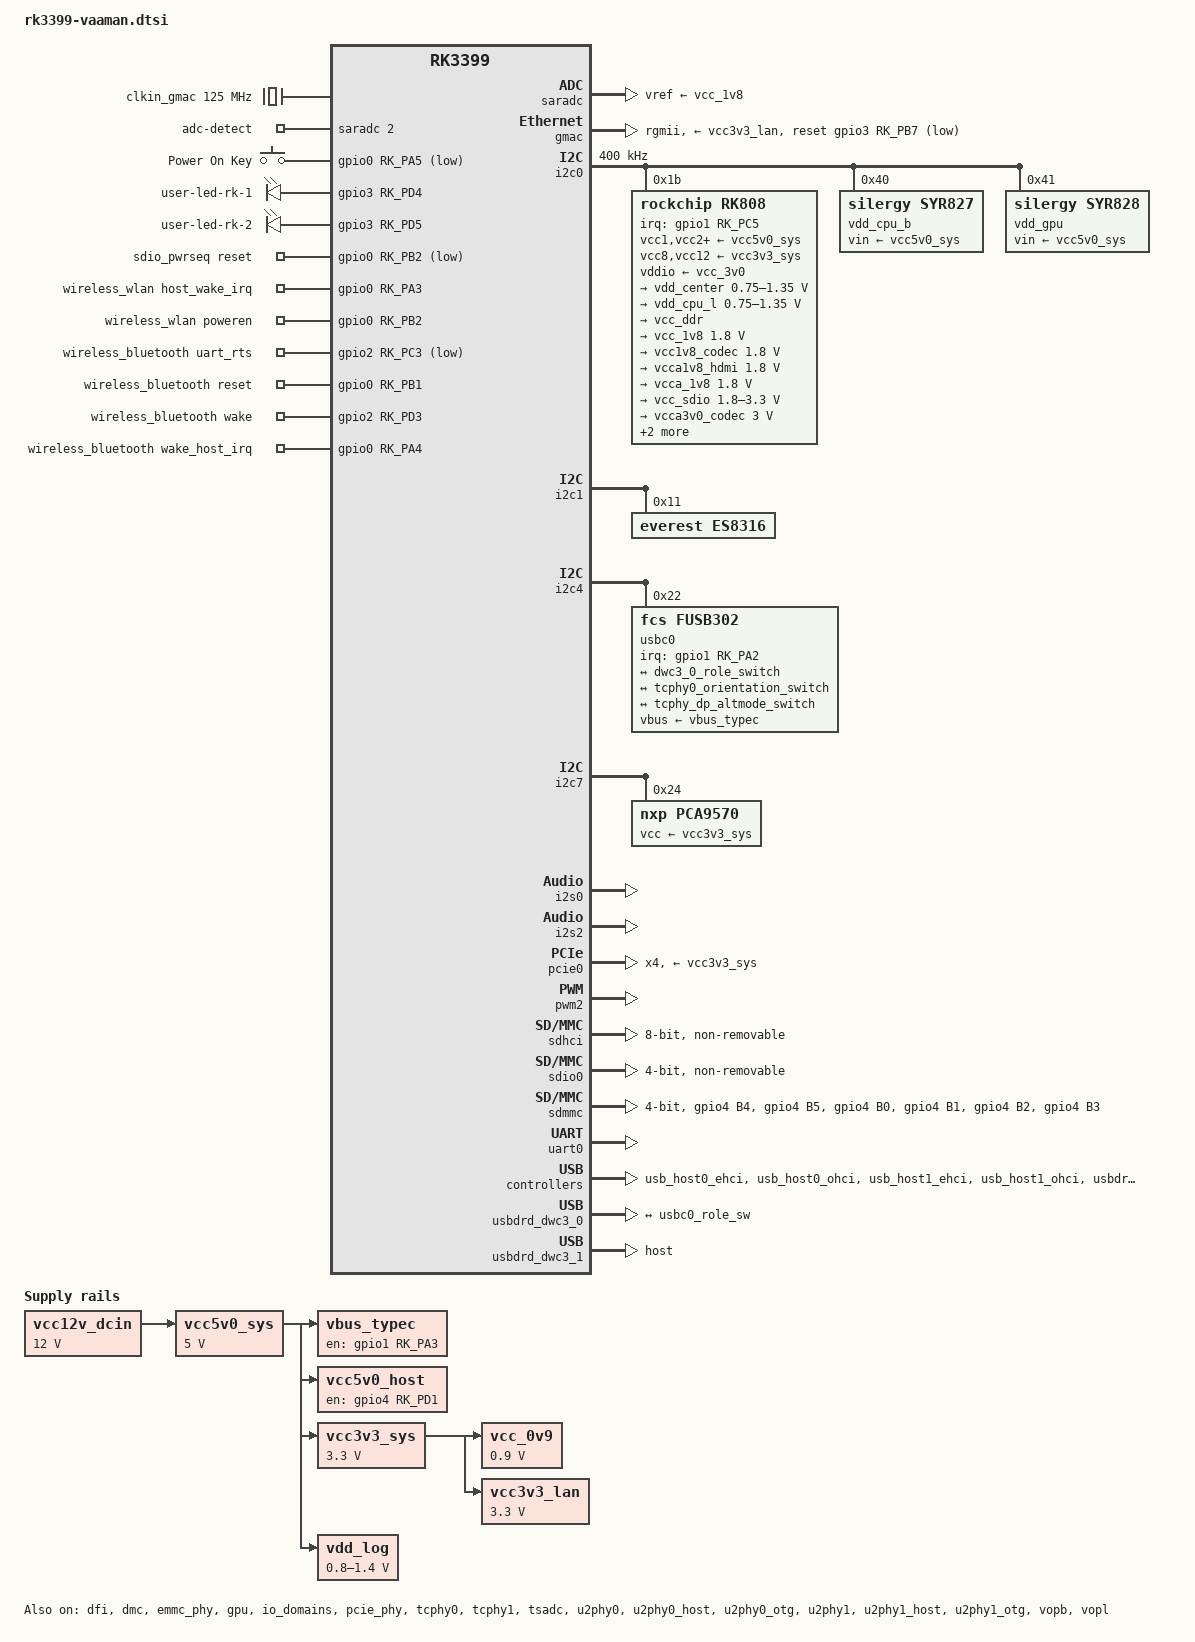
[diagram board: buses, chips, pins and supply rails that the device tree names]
// SPDX-License-Identifier: (GPL-2.0+ OR MIT)
/*
 * Copyright (C) 2023 Vicharak Computers LLP
 */

#include <dt-bindings/input/linux-event-codes.h>
#include <dt-bindings/leds/common.h>
#include <dt-bindings/usb/pd.h>
#include "rk3399.dtsi"
#include "rk3399-opp.dtsi"

/ {
	compatible = "vicharak,rk3399-vaaman", "rockchip,rk3399";

	aliases {
		mmc0 = &sdmmc;
		mmc1 = &sdhci;
		mmc2 = &sdio0;
	};

	clkin_gmac: external-gmac-clock {
		compatible = "fixed-clock";
		clock-frequency = <125000000>;
		clock-output-names = "clkin_gmac";
		#clock-cells = <0>;
	};

	dw_hdmi_audio: dw-hdmi-audio {
		status = "disabled";
		compatible = "rockchip,dw-hdmi-audio";
		#sound-dai-cells = <0>;
	};

	es8316-sound {
		compatible = "rockchip,multicodecs-card";
		rockchip,card-name = "rockchip-es8316";
		rockchip,codec = <&es8316>;
		rockchip,cpu = <&i2s0>;
		rockchip,format = "i2s";
		rockchip,mclk-fs = <256>;
		io-channel-names = "adc-detect";
		io-channels = <&saradc 2>;
		keyup-threshold-microvolt = <1800000>;
		poll-interval = <100>;
		rockchip,audio-routing =
			"Headphone", "HPOL",
			"Headphone", "HPOR",
			"Speaker", "HPOL",
			"Speaker", "HPOR",
			"MIC1", "Main Mic",
			"MIC2", "Headset Mic";
		play-pause-key {
			label = "playpause";
			linux,code = <164>;
			press-threshold-microvolt = <2000>;
		};
	};

	hdmi_sound: hdmi-sound {
		status = "disabled";
		compatible = "simple-audio-card";
		simple-audio-card,format = "i2s";
		simple-audio-card,mclk-fs = <256>;
		simple-audio-card,name = "rockchip,hdmi";
		simple-audio-card,cpu {
			sound-dai = <&i2s2>;
		};
		simple-audio-card,codec {
			sound-dai = <&dw_hdmi_audio>;
		};
	};

	keys {
		compatible = "gpio-keys";
		autorepeat;
		pinctrl-0 = <&pwr_key_l>;
		pinctrl-names = "default";

		key-power {
			gpios = <&gpio0 RK_PA5 GPIO_ACTIVE_LOW>;
			linux,code = <KEY_POWER>;
			label = "Power On Key";
			debounce-interval = <100>;
			wakeup-source;
		};
	};

	leds {
		compatible = "gpio-leds";
		pinctrl-names = "default";
		pinctrl-0 = <&user_led_rk_1_gpio &user_led_rk_2_gpio>;

		user-led-rk-1 {
			function = LED_FUNCTION_POWER;
			gpios = <&gpio3 RK_PD4 GPIO_ACTIVE_HIGH>;
			default-state = "on";
			retain-state-suspended;
			linux,default-trigger = "default-on";
		};

		user-led-rk-2 {
			function = LED_FUNCTION_STATUS;
			gpios = <&gpio3 RK_PD5 GPIO_ACTIVE_HIGH>;
			default-state = "on";
			retain-state-suspended;
			linux,default-trigger = "heartbeat";
		};
	};

	sdio_pwrseq: sdio-pwrseq {
		compatible = "mmc-pwrseq-simple";
		clocks = <&rk808 1>;
		clock-names = "ext_clock";
		pinctrl-names = "default";
		pinctrl-0 = <&wifi_reg_on_h>;
		reset-gpios = <&gpio0 RK_PB2 GPIO_ACTIVE_LOW>;
		status = "okay";
	};

	vbus_typec: vbus-typec-regulator {
		compatible = "regulator-fixed";
		regulator-name = "vbus_typec";
		enable-active-high;
		gpio = <&gpio1 RK_PA3 GPIO_ACTIVE_HIGH>;
		pinctrl-names = "default";
		pinctrl-0 = <&vcc5v0_typec0_en>;
		vin-supply = <&vcc5v0_sys>;
	};

	vcc_0v9: vcc-0v9-regulator {
		compatible = "regulator-fixed";
		regulator-name = "vcc_0v9";
		regulator-always-on;
		regulator-boot-on;
		regulator-min-microvolt = <900000>;
		regulator-max-microvolt = <900000>;
		vin-supply = <&vcc3v3_sys>;
	};

	vcc12v_dcin: vcc12v-dcin-regulator {
		compatible = "regulator-fixed";
		regulator-name = "vcc12v_dcin";
		regulator-always-on;
		regulator-boot-on;
		regulator-min-microvolt = <12000000>;
		regulator-max-microvolt = <12000000>;
	};

	vcc5v0_host: vcc5v0-host-regulator {
		compatible = "regulator-fixed";
		regulator-name = "vcc5v0_host";
		regulator-boot-on;
		regulator-always-on;
		enable-active-high;
		gpio = <&gpio4 RK_PD1 GPIO_ACTIVE_HIGH>;
		pinctrl-names = "default";
		pinctrl-0 = <&vcc5v0_host_en>;
		vin-supply = <&vcc5v0_sys>;
	};

	vcc5v0_sys: vcc5v0-sys-regulator {
		compatible = "regulator-fixed";
		regulator-name = "vcc5v0_sys";
		regulator-always-on;
		regulator-boot-on;
		regulator-min-microvolt = <5000000>;
		regulator-max-microvolt = <5000000>;
		vin-supply = <&vcc12v_dcin>;
	};

	vcc3v3_lan: vcc3v3-lan-regulator {
		compatible = "regulator-fixed";
		regulator-name = "vcc3v3_lan";
		regulator-always-on;
		regulator-boot-on;
		regulator-min-microvolt = <3300000>;
		regulator-max-microvolt = <3300000>;
		vin-supply = <&vcc3v3_sys>;

		regulator-state-mem {
			regulator-off-in-suspend;
		};
	};

	vcc3v3_sys: vcc3v3-sys-regulator {
		compatible = "regulator-fixed";
		regulator-name = "vcc3v3_sys";
		regulator-always-on;
		regulator-boot-on;
		regulator-min-microvolt = <3300000>;
		regulator-max-microvolt = <3300000>;
		vin-supply = <&vcc5v0_sys>;
	};

	vdd_log: vdd-log-regulator {
		compatible = "pwm-regulator";
		pwms = <&pwm2 0 25000 1>;
		pwm-supply = <&vcc5v0_sys>;
		regulator-name = "vdd_log";
		regulator-min-microvolt = <800000>;
		regulator-max-microvolt = <1400000>;
		regulator-always-on;
		regulator-boot-on;
		vin-supply = <&vcc5v0_sys>;
	};

	wireless_wlan: wireless-wlan {
		compatible = "wlan-platdata";
		wifi_chip_type = "rtl8822cs";
		rockchip,grf = <&grf>;
		pinctrl-names = "default";
		pinctrl-0 = <&wifi_host_wake_l>;
		WIFI,host_wake_irq = <&gpio0 RK_PA3 GPIO_ACTIVE_HIGH>;
		WIFI,poweren_gpio = <&gpio0 RK_PB2 GPIO_ACTIVE_HIGH>;
		status = "okay";
	};

	wireless_bluetooth: wireless-bluetooth {
		compatible = "bluetooth-platdata";
		clock-names = "ext_clock";
		clocks = <&rk808 1>;
		pinctrl-names = "default", "rts_gpio";
		pinctrl-0 = <&uart0_rts>, <&bt_wake_gpio>,
					<&bt_reg_on_gpio>, <&bt_host_wake_gpio>;
		pinctrl-1 = <&uart0_gpios>;
		uart_rts_gpios = <&gpio2 RK_PC3 GPIO_ACTIVE_LOW>;
		BT,reset_gpio    = <&gpio0 RK_PB1 GPIO_ACTIVE_HIGH>;
		BT,wake_gpio     = <&gpio2 RK_PD3 GPIO_ACTIVE_HIGH>;
		BT,wake_host_irq = <&gpio0 RK_PA4 GPIO_ACTIVE_HIGH>;
		status = "okay";
	};
};

&saradc {
	vref-supply = <&vcc_1v8>;
	status = "okay";
};

&cpu_b0 {
	cpu-supply = <&vdd_cpu_b>;
};

&cpu_b1 {
	cpu-supply = <&vdd_cpu_b>;
};

&cpu_l0 {
	cpu-supply = <&vdd_cpu_l>;
};

&cpu_l1 {
	cpu-supply = <&vdd_cpu_l>;
};

&cpu_l2 {
	cpu-supply = <&vdd_cpu_l>;
};

&cpu_l3 {
	cpu-supply = <&vdd_cpu_l>;
};

&dfi {
	status = "okay";
};

&dmc {
	status = "okay";
	center-supply = <&vdd_log>;
	upthreshold = <40>;
	downdifferential = <20>;
	system-status-freq = <
		/*system status         freq(KHz)*/
		SYS_STATUS_NORMAL       856000
		SYS_STATUS_REBOOT       416000
		SYS_STATUS_SUSPEND      416000
		SYS_STATUS_VIDEO_1080P  856000
		SYS_STATUS_VIDEO_4K     856000
		SYS_STATUS_VIDEO_4K_10B 856000
		SYS_STATUS_PERFORMANCE  856000
		SYS_STATUS_BOOST        856000
		SYS_STATUS_DUALVIEW     856000
		SYS_STATUS_ISP          856000
	>;

	vop-bw-dmc-freq = <
	/* min_bw(MB/s) max_bw(MB/s) freq(KHz) */
		0       577      416000
		578     99999    856000
	>;

	vop-pn-msch-readlatency = <
	/* plane_number  readlatency */
		0       0x20
		4       0x20
	>;

	auto-min-freq = <416000>;
	auto-freq-en = <0>;
};

&dmc_opp_table {
	compatible = "operating-points-v2";

	opp-200000000 {
		opp-hz = /bits/ 64 <200000000>;
		opp-microvolt = <900000>;
		status = "disabled";
	};
	opp-300000000 {
		opp-hz = /bits/ 64 <300000000>;
		opp-microvolt = <900000>;
		status = "disabled";
	};
	opp-400000000 {
		opp-hz = /bits/ 64 <400000000>;
		opp-microvolt = <900000>;
		status = "disabled";
	};
	opp-416000000 {
		opp-hz = /bits/ 64 <416000000>;
		opp-microvolt = <1000000>;
	};
	opp-528000000 {
		opp-hz = /bits/ 64 <528000000>;
		opp-microvolt = <900000>;
		status = "disabled";
	};
	opp-600000000 {
		opp-hz = /bits/ 64 <600000000>;
		opp-microvolt = <900000>;
		status = "disabled";
	};
	opp-800000000 {
		opp-hz = /bits/ 64 <800000000>;
		opp-microvolt = <900000>;
		status = "disabled";
	};
	opp-856000000 {
		opp-hz = /bits/ 64 <856000000>;
		opp-microvolt = <1000000>;
	};
};

&emmc_phy {
	status = "okay";
};

&gmac {
	assigned-clocks = <&cru SCLK_RMII_SRC>;
	assigned-clock-parents = <&clkin_gmac>;
	clock_in_out = "input";
	phy-supply = <&vcc3v3_lan>;
	phy-mode = "rgmii";
	pinctrl-names = "default", "sleep";
	pinctrl-0 = <&rgmii_pins>;
	pinctrl-1 = <&rgmii_sleep_pins>;
	snps,reset-gpio = <&gpio3 RK_PB7 GPIO_ACTIVE_LOW>;
	snps,reset-active-low;
	snps,reset-delays-us = <0 10000 50000>;
	tx_delay = <0x28>;
	rx_delay = <0x11>;
	status = "okay";
};

&gpu {
	mali-supply = <&vdd_gpu>;
	status = "okay";
};

&hdmi {
	pinctrl-names = "default";
	pinctrl-0 = <&hdmi_i2c_xfer>, <&hdmi_cec>;
	#address-cells = <1>;
	#size-cells = <0>;
	#sound-dai-cells = <0>;
	status = "disabled";
};

&i2c0 {
	clock-frequency = <400000>;
	i2c-scl-rising-time-ns = <168>;
	i2c-scl-falling-time-ns = <4>;
	status = "okay";

	rk808: pmic@1b {
		compatible = "rockchip,rk808";
		reg = <0x1b>;
		#clock-cells = <1>;
		clock-output-names = "xin32k", "rk808-clkout2";
		interrupt-parent = <&gpio1>;
		interrupts = <RK_PC5 IRQ_TYPE_LEVEL_LOW>;
		pinctrl-names = "default";
		pinctrl-0 = <&pmic_int_l>;
		rockchip,system-power-controller;
		wakeup-source;

		vcc1-supply = <&vcc5v0_sys>;
		vcc2-supply = <&vcc5v0_sys>;
		vcc3-supply = <&vcc5v0_sys>;
		vcc4-supply = <&vcc5v0_sys>;
		vcc6-supply = <&vcc5v0_sys>;
		vcc7-supply = <&vcc5v0_sys>;
		vcc8-supply = <&vcc3v3_sys>;
		vcc9-supply = <&vcc5v0_sys>;
		vcc10-supply = <&vcc5v0_sys>;
		vcc11-supply = <&vcc5v0_sys>;
		vcc12-supply = <&vcc3v3_sys>;
		vddio-supply = <&vcc_3v0>;

		regulators {
			vdd_center: DCDC_REG1 {
				regulator-name = "vdd_center";
				regulator-always-on;
				regulator-boot-on;
				regulator-min-microvolt = <750000>;
				regulator-max-microvolt = <1350000>;
				regulator-ramp-delay = <6001>;

				regulator-state-mem {
					regulator-off-in-suspend;
				};
			};

			vdd_cpu_l: DCDC_REG2 {
				regulator-name = "vdd_cpu_l";
				regulator-always-on;
				regulator-boot-on;
				regulator-min-microvolt = <750000>;
				regulator-max-microvolt = <1350000>;
				regulator-ramp-delay = <6001>;

				regulator-state-mem {
					regulator-off-in-suspend;
				};
			};

			vcc_ddr: DCDC_REG3 {
				regulator-name = "vcc_ddr";
				regulator-always-on;
				regulator-boot-on;

				regulator-state-mem {
					regulator-on-in-suspend;
				};
			};

			vcc_1v8: DCDC_REG4 {
				regulator-name = "vcc_1v8";
				regulator-always-on;
				regulator-boot-on;
				regulator-min-microvolt = <1800000>;
				regulator-max-microvolt = <1800000>;

				regulator-state-mem {
					regulator-on-in-suspend;
					regulator-suspend-microvolt = <1800000>;
				};
			};

			vcc1v8_codec: LDO_REG1 {
				regulator-name = "vcc1v8_codec";
				regulator-always-on;
				regulator-boot-on;
				regulator-min-microvolt = <1800000>;
				regulator-max-microvolt = <1800000>;

				regulator-state-mem {
					regulator-on-in-suspend;
					regulator-suspend-microvolt = <1800000>;
				};
			};

			vcca1v8_hdmi: LDO_REG2 {
				regulator-name = "vcca1v8_hdmi";
				regulator-always-on;
				regulator-boot-on;
				regulator-min-microvolt = <1800000>;
				regulator-max-microvolt = <1800000>;

				regulator-state-mem {
					regulator-on-in-suspend;
					regulator-suspend-microvolt = <1800000>;
				};
			};

			vcca_1v8: LDO_REG3 {
				regulator-name = "vcca_1v8";
				regulator-always-on;
				regulator-boot-on;
				regulator-min-microvolt = <1800000>;
				regulator-max-microvolt = <1800000>;

				regulator-state-mem {
					regulator-on-in-suspend;
					regulator-suspend-microvolt = <1800000>;
				};
			};

			vcc_sdio: LDO_REG4 {
				regulator-name = "vcc_sdio";
				regulator-always-on;
				regulator-boot-on;
				regulator-min-microvolt = <1800000>;
				regulator-max-microvolt = <3300000>;

				regulator-state-mem {
					regulator-on-in-suspend;
					regulator-suspend-microvolt = <3300000>;
				};
			};

			vcca3v0_codec: LDO_REG5 {
				regulator-name = "vcca3v0_codec";
				regulator-always-on;
				regulator-boot-on;
				regulator-min-microvolt = <3000000>;
				regulator-max-microvolt = <3000000>;

				regulator-state-mem {
					regulator-on-in-suspend;
					regulator-suspend-microvolt = <3000000>;
				};
			};

			vcc_1v5: LDO_REG6 {
				regulator-name = "vcc_1v5";
				regulator-always-on;
				regulator-boot-on;
				regulator-min-microvolt = <1500000>;
				regulator-max-microvolt = <1500000>;

				regulator-state-mem {
					regulator-on-in-suspend;
					regulator-suspend-microvolt = <1500000>;
				};
			};

			vcca0v9_hdmi: LDO_REG7 {
				regulator-name = "vcca0v9_hdmi";
				regulator-always-on;
				regulator-boot-on;
				regulator-min-microvolt = <900000>;
				regulator-max-microvolt = <900000>;

				regulator-state-mem {
					regulator-on-in-suspend;
					regulator-suspend-microvolt = <900000>;
				};
			};

			vcc_3v0: LDO_REG8 {
				regulator-name = "vcc_3v0";
				regulator-always-on;
				regulator-boot-on;
				regulator-min-microvolt = <3000000>;
				regulator-max-microvolt = <3000000>;

				regulator-state-mem {
					regulator-on-in-suspend;
					regulator-suspend-microvolt = <3000000>;
				};
			};

			vcc_cam: SWITCH_REG1 {
				regulator-name = "vcc_cam";
				regulator-always-on;
				regulator-boot-on;

				regulator-state-mem {
					regulator-on-in-suspend;
				};
			};

			vcc_mipi: SWITCH_REG2 {
				regulator-name = "vcc_mipi";
				regulator-always-on;
				regulator-boot-on;

				regulator-state-mem {
					regulator-on-in-suspend;
				};
			};
		};
	};

	vdd_cpu_b: regulator@40 {
		compatible = "silergy,syr827";
		reg = <0x40>;
		fcs,suspend-voltage-selector = <1>;
		pinctrl-names = "default";
		pinctrl-0 = <&vsel1_pin>;
		regulator-name = "vdd_cpu_b";
		regulator-min-microvolt = <712500>;
		regulator-max-microvolt = <1500000>;
		regulator-ramp-delay = <1000>;
		regulator-always-on;
		regulator-boot-on;
		vin-supply = <&vcc5v0_sys>;

		regulator-state-mem {
			regulator-off-in-suspend;
		};
	};

	vdd_gpu: regulator@41 {
		compatible = "silergy,syr828";
		reg = <0x41>;
		fcs,suspend-voltage-selector = <1>;
		pinctrl-names = "default";
		pinctrl-0 = <&vsel2_pin>;
		regulator-name = "vdd_gpu";
		regulator-min-microvolt = <712500>;
		regulator-max-microvolt = <1500000>;
		regulator-ramp-delay = <1000>;
		regulator-always-on;
		regulator-boot-on;
		vin-supply = <&vcc5v0_sys>;

		regulator-state-mem {
			regulator-off-in-suspend;
		};
	};
};

&i2c1 {
	i2c-scl-rising-time-ns = <300>;
	i2c-scl-falling-time-ns = <15>;
	status = "okay";

	es8316: es8316@11 {
		compatible = "everest,es8316";
		reg = <0x11>;
		clocks = <&cru SCLK_I2S_8CH_OUT>;
		clock-names = "mclk";
		pinctrl-names = "default";
		pinctrl-0 = <&i2s_8ch_mclk>;
		#sound-dai-cells = <0>;
	};
};

&i2c4 {
	i2c-scl-rising-time-ns = <160>;
	i2c-scl-falling-time-ns = <30>;
	status = "okay";

	usbc0: fusb302@22 {
		compatible = "fcs,fusb302";
		reg = <0x22>;
		interrupt-parent = <&gpio1>;
		interrupts = <RK_PA2 IRQ_TYPE_LEVEL_LOW>;
		pinctrl-names = "default";
		pinctrl-0 = <&chg_cc_int_l>;
		vbus-supply = <&vbus_typec>;
		status = "okay";

		ports {
			#address-cells = <1>;
			#size-cells = <0>;

			port@0 {
				reg = <0>;
				usbc0_role_sw: endpoint@0 {
					remote-endpoint = <&dwc3_0_role_switch>;
				};
			};
		};

		usb_con: connector {
			compatible = "usb-c-connector";
			label = "USB-C";
			data-role = "dual";
			power-role = "dual";
			try-power-role = "sink";
			op-sink-microwatt = <1000000>;
			sink-pdos =
				<PDO_FIXED(5000, 1000, PDO_FIXED_USB_COMM)>;
			source-pdos =
				<PDO_FIXED(5000, 3000, PDO_FIXED_USB_COMM)>;

			displayport = <&cdn_dp>;

			altmodes {
				#address-cells = <1>;
				#size-cells = <0>;

				altmode@0 {
					reg = <0>;
					svid = <0xff01>;
					vdo = <0xffffffff>;
				};
			};

			ports {
				#address-cells = <1>;
				#size-cells = <0>;

				port@0 {
					reg = <0>;

					usbc0_orien_sw: endpoint {
						remote-endpoint = <&tcphy0_orientation_switch>;
					};
				};

				port@1 {
					reg = <1>;

					dp_mode_sw: endpoint {
						remote-endpoint = <&tcphy_dp_altmode_switch>;
					};
				};
			};
		};
	};
};

&i2c7 {
	status = "okay";

	pca9570: gpio@24 {
		status = "okay";
		vcc-supply = <&vcc3v3_sys>;
		compatible = "nxp,pca9570";
		reg = <0x24>;
		gpio-controller;
		#gpio-cells = <2>;
	};
};

&i2s0 {
	status = "okay";
	rockchip,playback-channels = <2>;
	rockchip,capture-channels = <2>;
	#sound-dai-cells = <0>;
	pinctrl-names = "default";
	pinctrl-0 = <&i2s0_2ch_bus>;
};

&i2s2 {
	#sound-dai-cells = <0>;
	status = "okay";
};

&io_domains {
	audio-supply = <&vcc_3v0>;
	bt656-supply = <&vcc_3v0>;
	gpio1830-supply = <&vcc_3v0>;
	sdmmc-supply = <&vcc_sdio>;
	status = "okay";
};

&pcie0 {
	ep-gpios = <&gpio4 RK_PD3 GPIO_ACTIVE_HIGH>;
	num-lanes = <4>;
	pinctrl-0 = <&pcie_clkreqnb_cpm>;
	pinctrl-names = "default";
	vpcie0v9-supply = <&vcc_0v9>;
	vpcie1v8-supply = <&vcc_1v8>;
	vpcie3v3-supply = <&vcc3v3_sys>;
	status = "okay";
};

&pcie_phy {
	status = "okay";
};

&pinctrl {
	gmac {
		rgmii_sleep_pins: rgmii-sleep-pins {
			rockchip,pins =
				<3 RK_PB7 RK_FUNC_GPIO &pcfg_output_low>;
		};
	};

	keys {
		pwr_key_l: pwr-key-l {
			rockchip,pins =
				<0 RK_PA5 RK_FUNC_GPIO &pcfg_pull_up>;
		};
	};

	leds {
		user_led_rk_1_gpio: user-led-rk-1-gpio {
			rockchip,pins =
				<3 RK_PD4 RK_FUNC_GPIO &pcfg_pull_none>;
		};

		user_led_rk_2_gpio: user-led-rk-2-gpio {
			rockchip,pins =
				<3 RK_PD5 RK_FUNC_GPIO &pcfg_pull_none>;
		};
	};

	pmic {
		pmic_int_l: pmic-int-l {
			rockchip,pins =
				<1 RK_PC5 RK_FUNC_GPIO &pcfg_pull_up>;
		};

		vsel1_pin: vsel1-pin {
			rockchip,pins =
				<1 RK_PC1 RK_FUNC_GPIO &pcfg_pull_down>;
		};

		vsel2_pin: vsel2-pin {
			rockchip,pins =
				<1 RK_PB6 RK_FUNC_GPIO &pcfg_pull_down>;
		};
	};

	sdmmc {
		sdmmc_bus4: sdmmc-bus4 {
			rockchip,pins =
				<4 RK_PB0 1 &pcfg_pull_up_18ma>,
				<4 RK_PB1 1 &pcfg_pull_up_18ma>,
				<4 RK_PB2 1 &pcfg_pull_up_18ma>,
				<4 RK_PB3 1 &pcfg_pull_up_18ma>;
		};

		sdmmc_clk: sdmmc-clk {
			rockchip,pins =
				<4 RK_PB4 1 &pcfg_pull_up_18ma>;
		};

		sdmmc_cmd: sdmmc-cmd {
			rockchip,pins =
				<4 RK_PB5 1 &pcfg_pull_up_18ma>;
		};
	};

	usb2 {
		vcc5v0_host_en: vcc5v0-host-en {
			rockchip,pins =
				<4 RK_PD1 RK_FUNC_GPIO &pcfg_pull_none>;
		};
	};

	usb-typec {
		chg_cc_int_l: chg-cc-int-l {
			rockchip,pins =
				<1 RK_PA2 RK_FUNC_GPIO &pcfg_pull_up>;
		};

		vcc5v0_typec0_en: vcc5v0-typec0-en {
			rockchip,pins =
				<1 RK_PA3 RK_FUNC_GPIO &pcfg_pull_none>;
		};
	};

	wireless-bluetooth {
		uart0_gpios: uart0-gpios {
			rockchip,pins =
				<2 RK_PC3 RK_FUNC_GPIO &pcfg_pull_none>;
		};

		bt_wake_gpio: bt-wake-gpio {
			rockchip,pins =
				<2 RK_PD3 RK_FUNC_GPIO &pcfg_pull_none>;
		};

		bt_host_wake_gpio: bt-host-wake-gpio {
			rockchip,pins =
				<0 RK_PA4 RK_FUNC_GPIO &pcfg_pull_none>;
		};

		bt_reg_on_gpio: bt-reg-on-gpio {
			rockchip,pins =
				<0 RK_PB1 RK_FUNC_GPIO &pcfg_pull_none>;
		};
	};

	wireless-lan {
		wifi_host_wake_l: wifi-host-wake-l {
			rockchip,pins =
				<0 RK_PA3 RK_FUNC_GPIO &pcfg_pull_none>;
		};

		wifi_reg_on_h: wifi-reg-on-h {
			rockchip,pins =
				<0 RK_PB2 RK_FUNC_GPIO &pcfg_pull_none>;
		};
	};
};

&pmu_io_domains {
	pmu1830-supply = <&vcc_3v0>;
	status = "okay";
};

&pwm2 {
	status = "okay";
};

&rockchip_suspend {
	status = "okay";
	rockchip,sleep-debug-en = <1>;
	rockchip,sleep-mode-config = <
		(0
		| RKPM_SLP_ARMPD
		| RKPM_SLP_PERILPPD
		| RKPM_SLP_DDR_RET
		| RKPM_SLP_PLLPD
		| RKPM_SLP_CENTER_PD
		)
	>;
	rockchip,wakeup-config = <
		(0
		| RKPM_GPIO_WKUP_EN
		| RKPM_PWM_WKUP_EN
		| RKPM_USB_WKUP_EN
		| RKPM_USB_LINESTATE_WKUP_EN
		)
	>;
	rockchip,pwm-regulator-config = <
		(0
		| PWM2_REGULATOR_EN
		)
	>;
	rockchip,power-ctrl =
		<&gpio1 RK_PC1 GPIO_ACTIVE_HIGH>,
		<&gpio1 RK_PB6 GPIO_ACTIVE_HIGH>;
};

&sdhci {
	max-frequency = <150000000>;
	bus-width = <8>;
	keep-power-in-suspend;
	mmc-hs400-1_8v;
	mmc-hs400-enhanced-strobe;
	no-sd;
	no-sdio;
	non-removable;
	status = "okay";
};

&sdio0 {
	clock-frequency = <150000000>;
	clock-freq-min-max = <200000 150000000>;
	no-sd;
	no-mmc;
	bus-width = <4>;
	disable-wp;
	cap-sd-highspeed;
	cap-sdio-irq;
	keep-power-in-suspend;
	mmc-pwrseq = <&sdio_pwrseq>;
	non-removable;
	num-slots = <1>;
	pinctrl-names = "default";
	pinctrl-0 = <&sdio0_bus4 &sdio0_cmd &sdio0_clk>;
	sd-uhs-sdr104;
	status = "okay";
};

&sdmmc {
	bus-width = <4>;
	cap-mmc-highspeed;
	cap-sd-highspeed;
	clock-freq-min-max = <100000 150000000>;
	clock-frequency = <150000000>;
	disable-wp;
	no-mmc;
	no-sdio;
	num-slots = <1>;
	pinctrl-0 = <&sdmmc_clk &sdmmc_cmd &sdmmc_cd &sdmmc_bus4>;
	pinctrl-names = "default";
	sd-uhs-sdr104;
	vqmmc-supply = <&vcc_sdio>;
	status = "okay";
};

&tcphy0 {
	orientation-switch;
	svid = <0xff01>;
	status = "okay";

	port {
		#address-cells = <1>;
		#size-cells = <0>;

		tcphy0_orientation_switch: endpoint@0 {
			reg = <0>;
			remote-endpoint = <&usbc0_orien_sw>;
		};

		tcphy_dp_altmode_switch: endpoint@1 {
			reg = <1>;
			remote-endpoint = <&dp_mode_sw>;
		};
	};
};

&tcphy1 {
	status = "okay";
};

&tsadc {
	rockchip,hw-tshut-mode = <1>;
	rockchip,hw-tshut-polarity = <1>;
	status = "okay";
};

&u2phy0 {
	status = "okay";
	wakeup-source;
};

&u2phy0_host {
	phy-supply = <&vcc5v0_host>;
	status = "okay";
};

&u2phy0_otg {
	status = "okay";
};

&u2phy1 {
	status = "okay";
	wakeup-source;
};

&u2phy1_host {
	phy-supply = <&vcc5v0_host>;
	status = "okay";
};

&u2phy1_otg {
	status = "okay";
};

&uart0 {
	pinctrl-names = "default";
	pinctrl-0 = <&uart0_xfer &uart0_cts>;
	status = "okay";
};

&usb_host0_ehci {
	status = "okay";
};

&usb_host0_ohci {
	status = "okay";
};

&usb_host1_ehci {
	status = "okay";
};

&usb_host1_ohci {
	status = "okay";
};

&usbdrd3_0 {
	status = "okay";
};

&usbdrd3_1 {
	status = "okay";
};

&usbdrd_dwc3_0 {
	usb-role-switch;
	status = "okay";

	port {
		#address-cells = <1>;
		#size-cells = <0>;

		dwc3_0_role_switch: endpoint@0 {
			reg = <0>;
			remote-endpoint = <&usbc0_role_sw>;
		};
	};
};

&usbdrd_dwc3_1 {
	status = "okay";
	dr_mode = "host";
};

&vopb {
	assigned-clocks = <&cru DCLK_VOP0_DIV>;
	assigned-clock-parents = <&cru PLL_VPLL>;
	status = "okay";
};

&vopb_mmu {
	status = "okay";
};

&vopl {
	assigned-clocks = <&cru DCLK_VOP1_DIV>;
	assigned-clock-parents = <&cru PLL_CPLL>;
	status = "okay";
};

&vopl_mmu {
	status = "okay";
};
